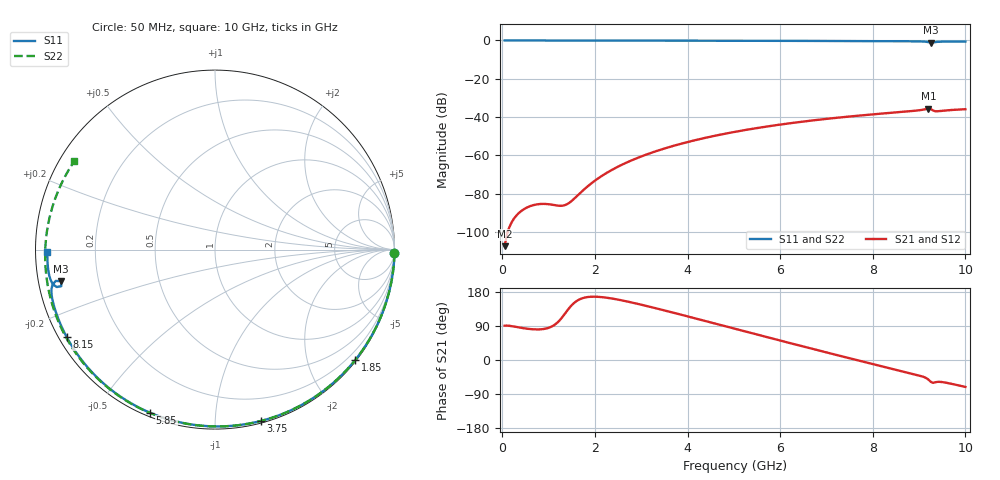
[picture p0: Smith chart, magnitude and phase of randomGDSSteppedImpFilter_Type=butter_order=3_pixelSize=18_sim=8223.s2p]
! freq	dB(S11)	phase(S11)	dB(S12)	phase(S12)
!  dB(S21)	phase(S21)	dB(S22)	phase(S22)
!S-par simulation data
#  GHz  S  DB  R 50
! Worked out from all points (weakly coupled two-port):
!   200 points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, 50 MHz to 10 GHz, reference 50 ohm
!   highest |S21| = -35.55 dB at 9.2 GHz (marker M1); lowest = -107.3 dB at 50 MHz (marker M2)
!   lowest |S11| = -1.2 dB at 9.25 GHz (marker M3), VSWR 15.05, Z = 3.36 - j5.05 ohm
!   |S11| at or under -10 dB: nowhere
!   |S22| runs from -0.7 to 0.0 dB; largest |S21 - S12| = 0
!   S11 on the Smith chart (normalised r, x): 50 MHz: open; 1.85 GHz: 0.03, -2.88; 3.75 GHz: 0.02, -1.30; 5.85 GHz: 0.02, -0.68; 8.15 GHz: 0.02, -0.27; 10 GHz: 0.03, -0.01
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0.05  -0.00 -1.1  -107.30 90.6  -107.30 90.6  -0.00 -1.1
0.8  -0.02 -16.8  -85.35 80.8  -85.35 80.8  -0.02 -17.8
1.65  -0.04 -34.3  -80.31 158.9  -80.31 158.9  -0.05 -36.4
1.75  -0.05 -36.3  -78.07 163.8  -78.07 163.8  -0.05 -38.6
1.85  -0.05 -38.3  -75.97 166.2  -75.97 166.2  -0.05 -40.7
2.15  -0.06 -44.3  -70.64 165.9  -70.64 165.9  -0.06 -47.1
2.5  -0.07 -51.2  -65.82 159.3  -65.82 159.3  -0.07 -54.5
2.9  -0.08 -59.0  -61.46 148.8  -61.46 148.8  -0.08 -62.9
3.4  -0.09 -68.4  -57.13 134.0  -57.13 134.0  -0.10 -73.2
3.75  -0.10 -74.9  -54.61 123.1  -54.61 123.1  -0.11 -80.2
5.05  -0.15 -98.1  -47.55 81.6  -47.55 81.6  -0.17 -105.9
5.85  -0.19 -111.7  -44.40 56.1  -44.40 56.1  -0.21 -121.5
6.7  -0.24 -125.8  -41.72 29.3  -41.72 29.3  -0.27 -138.1
7.45  -0.30 -138.0  -39.78 6.1  -39.78 6.1  -0.34 -153.2
8.15  -0.36 -149.5  -38.25 -15.3  -38.25 -15.3  -0.42 -167.9
8.35  -0.38 -152.8  -37.84 -21.3  -37.84 -21.3  -0.44 -172.2
9  -0.49 -164.3  -36.42 -41.0  -36.42 -41.0  -0.52 173.0
9.2  -0.87 -168.9  -35.55 -51.4  -35.55 -51.4  -0.55 168.2
9.25  -1.16 -168.4  -35.71 -57.4  -35.71 -57.4  -0.56 167.0
9.35  -0.86 -166.7  -36.93 -58.7  -36.93 -58.7  -0.57 164.6
9.55  -0.59 -171.0  -36.57 -59.2  -36.57 -59.2  -0.60 159.6
10  -0.59 -179.3  -35.85 -71.1  -35.85 -71.1  -0.67 147.8
